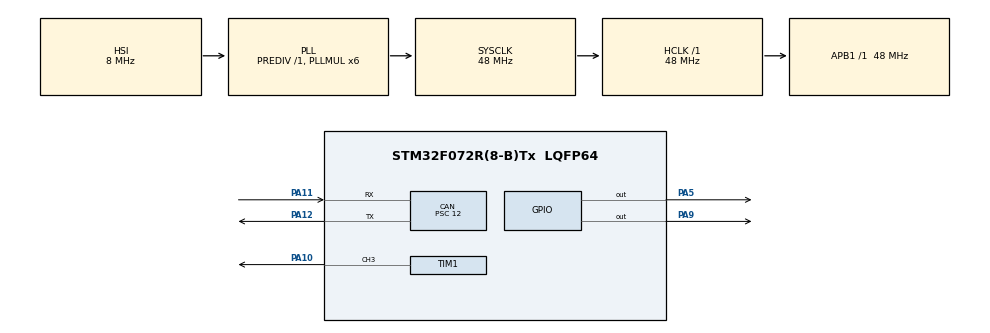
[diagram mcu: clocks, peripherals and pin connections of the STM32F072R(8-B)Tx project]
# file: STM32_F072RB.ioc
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CAN.BS1=CAN_BS1_8TQ
CAN.BS2=CAN_BS2_2TQ
CAN.CalculateBaudRate=363636
CAN.CalculateTimeBit=2750
CAN.CalculateTimeQuantum=250.0
CAN.Prescaler=12
Mcu.Family=STM32F0
Mcu.Name=STM32F072R(8-B)Tx
Mcu.Package=LQFP64
NVIC.CEC_CAN_IRQn=true\:0\:0\:false\:false\:true\:true\:true
NVIC.TIM1_CC_IRQn=true\:0\:0\:false\:false\:true\:true\:true
PA10.Signal=S_TIM1_CH3
PA11.Mode=CAN_Activate
PA11.Signal=CAN_RX
PA12.Mode=CAN_Activate
PA12.Signal=CAN_TX
PA5.GPIO_PuPd=GPIO_PULLUP
PA5.Signal=GPIO_Output
PA9.GPIO_PuPd=GPIO_PULLUP
PA9.Signal=GPIO_Output
PF0-OSC_IN.Mode=HSE-External-Oscillator
PF0-OSC_IN.Signal=RCC_OSC_IN
PF1-OSC_OUT.Mode=HSE-External-Oscillator
PF1-OSC_OUT.Signal=RCC_OSC_OUT
ProjectManager.HeapSize=0x200
ProjectManager.StackSize=0x400
ProjectManager.TargetToolchain=STM32CubeIDE
RCC.AHBFreq_Value=48000000
RCC.APB1Freq_Value=48000000
RCC.APB1TimFreq_Value=48000000
RCC.HCLKFreq_Value=48000000
RCC.HSE_VALUE=32000000
RCC.PLLMUL=RCC_PLL_MUL6
RCC.SYSCLKFreq_VALUE=48000000
RCC.SYSCLKSource=RCC_SYSCLKSOURCE_PLLCLK
SH.S_TIM1_CH3.0=TIM1_CH3,PWM Generation3 CH3
TIM1.AutoReloadPreload=TIM_AUTORELOAD_PRELOAD_ENABLE
TIM1.Channel-PWM\ Generation3\ CH3=TIM_CHANNEL_3
TIM1.OCMode_PWM-PWM\ Generation3\ CH3=TIM_OCMODE_PWM1
TIM1.Period=10000-1
TIM1.Prescaler=4800-1
TIM1.Pulse-PWM\ Generation3\ CH3=10
VP_TIM1_VS_ClockSourceINT.Mode=Internal
board=custom

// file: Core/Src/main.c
/* USER CODE BEGIN Header */
/**
  ******************************************************************************
  * @file           : main.c
  * @brief          : Main program body
  ******************************************************************************
  * @attention
  *
  * <h2><center>&copy; Copyright (c) 2021 STMicroelectronics.
  * All rights reserved.</center></h2>
  *
  * This software component is licensed by ST under BSD 3-Clause license,
  * the "License"; You may not use this file except in compliance with the
  * License. You may obtain a copy of the License at:
  *                        opensource.org/licenses/BSD-3-Clause
  *
  ******************************************************************************
  */
/* USER CODE END Header */
#include "main.h"

/* USER CODE BEGIN Includes */
#include <stdio.h>
#include <math.h>
#include "stm32f0xx_it.h"
#include "motor.h"
#include "can.h"

/* USER CODE END Includes */

CAN_HandleTypeDef hcan;

TIM_HandleTypeDef htim1;

/* USER CODE BEGIN PV */
int target = -1;
int cnt = 0;
int repetitions=1;

//CAN
CAN_TxHeaderTypeDef TxHeader;
CAN_RxHeaderTypeDef RxHeader;
uint8_t TxData[8];
uint8_t RxData[8];
uint32_t TxMailbox;

/* USER CODE END PV */

void SystemClock_Config(void);
static void MX_GPIO_Init(void);
static void MX_CAN_Init(void);
static void MX_TIM1_Init(void);
/* USER CODE BEGIN PFP */
void HAL_CAN_RxFifo0MsgPendingCallback(CAN_HandleTypeDef *hcan);
void HAL_TIM_OC_DelayElapsedCallback(TIM_HandleTypeDef *htim);

/* USER CODE END PFP */

/* USER CODE BEGIN 0 */

//fct interrupt (qd stm reçoit msg)
void HAL_CAN_RxFifo0MsgPendingCallback(CAN_HandleTypeDef *hcan) {
	//HAL_CAN_GetRxMessage(hcan, CAN_RX_FIFO0, &RxHeader, RxData);
	// Traitement des données
	uint8_t RxData[8];
	//réception du message
	HAL_CAN_GetRxMessage(hcan, CAN_RX_FIFO0, &RxHeader, RxData);

	send_one(0x324, 00);
	repetitions=1;
	//send_one(0x324, FF);
	motor_stop(RxData[0]);
	motor_dir(RxData[1]);
	motor_step(RxData[2]);
	target = RxData[3];

	//send_one(0x324, TIM1->ARR);
	//send_one(0x324, target);
	__HAL_TIM_SET_COUNTER(&htim1, 0);

}

/* USER CODE END 0 */

int main(void)
{

  /* MCU Configuration--------------------------------------------------------*/

  /* Reset of all peripherals, Initializes the Flash interface and the Systick. */
  HAL_Init();

  /* Configure the system clock */
  SystemClock_Config();

  /* Initialize all configured peripherals */
  MX_GPIO_Init();
  MX_CAN_Init();
  MX_TIM1_Init();
  /* USER CODE BEGIN 2 */
	CAN_Config(hcan, 0x325);

  //initialisation timer
  motor_stop(1);
  motor_step(0xFF);
  target=2;
  HAL_Delay(2000);
  motor_stop(0);
  target=0;

  /* USER CODE END 2 */

  /* Infinite loop */
    while (1)
      {

    }
}

void SystemClock_Config(void)
{
  RCC_OscInitTypeDef RCC_OscInitStruct = {0};
  RCC_ClkInitTypeDef RCC_ClkInitStruct = {0};

  /** Initializes the RCC Oscillators according to the specified parameters
  * in the RCC_OscInitTypeDef structure.
  */
  RCC_OscInitStruct.OscillatorType = RCC_OSCILLATORTYPE_HSI;
  RCC_OscInitStruct.HSIState = RCC_HSI_ON;
  RCC_OscInitStruct.HSICalibrationValue = RCC_HSICALIBRATION_DEFAULT;
  RCC_OscInitStruct.PLL.PLLState = RCC_PLL_ON;
  RCC_OscInitStruct.PLL.PLLSource = RCC_PLLSOURCE_HSI;
  RCC_OscInitStruct.PLL.PLLMUL = RCC_PLL_MUL6;
  RCC_OscInitStruct.PLL.PREDIV = RCC_PREDIV_DIV1;
  if (HAL_RCC_OscConfig(&RCC_OscInitStruct) != HAL_OK)
  {
    Error_Handler();
  }
  /** Initializes the CPU, AHB and APB buses clocks
  */
  RCC_ClkInitStruct.ClockType = RCC_CLOCKTYPE_HCLK|RCC_CLOCKTYPE_SYSCLK
                              |RCC_CLOCKTYPE_PCLK1;
  RCC_ClkInitStruct.SYSCLKSource = RCC_SYSCLKSOURCE_PLLCLK;
  RCC_ClkInitStruct.AHBCLKDivider = RCC_SYSCLK_DIV1;
  RCC_ClkInitStruct.APB1CLKDivider = RCC_HCLK_DIV1;

  if (HAL_RCC_ClockConfig(&RCC_ClkInitStruct, FLASH_LATENCY_1) != HAL_OK)
  {
    Error_Handler();
  }
}

static void MX_CAN_Init(void)
{

  hcan.Instance = CAN;
  hcan.Init.Prescaler = 12;
  hcan.Init.Mode = CAN_MODE_NORMAL;
  hcan.Init.SyncJumpWidth = CAN_SJW_1TQ;
  hcan.Init.TimeSeg1 = CAN_BS1_8TQ;
  hcan.Init.TimeSeg2 = CAN_BS2_2TQ;
  hcan.Init.TimeTriggeredMode = DISABLE;
  hcan.Init.AutoBusOff = DISABLE;
  hcan.Init.AutoWakeUp = DISABLE;
  hcan.Init.AutoRetransmission = DISABLE;
  hcan.Init.ReceiveFifoLocked = DISABLE;
  hcan.Init.TransmitFifoPriority = DISABLE;
  if (HAL_CAN_Init(&hcan) != HAL_OK)
  {
    Error_Handler();
  }

}

static void MX_TIM1_Init(void)
{

  TIM_ClockConfigTypeDef sClockSourceConfig = {0};
  TIM_MasterConfigTypeDef sMasterConfig = {0};
  TIM_OC_InitTypeDef sConfigOC = {0};
  TIM_BreakDeadTimeConfigTypeDef sBreakDeadTimeConfig = {0};

  htim1.Instance = TIM1;
  htim1.Init.Prescaler = 4800-1;
  htim1.Init.CounterMode = TIM_COUNTERMODE_UP;
  htim1.Init.Period = 10000-1;
  htim1.Init.ClockDivision = TIM_CLOCKDIVISION_DIV1;
  htim1.Init.RepetitionCounter = 0;
  htim1.Init.AutoReloadPreload = TIM_AUTORELOAD_PRELOAD_ENABLE;
  if (HAL_TIM_Base_Init(&htim1) != HAL_OK)
  {
    Error_Handler();
  }
  sClockSourceConfig.ClockSource = TIM_CLOCKSOURCE_INTERNAL;
  if (HAL_TIM_ConfigClockSource(&htim1, &sClockSourceConfig) != HAL_OK)
  {
    Error_Handler();
  }
  if (HAL_TIM_PWM_Init(&htim1) != HAL_OK)
  {
    Error_Handler();
  }
  sMasterConfig.MasterOutputTrigger = TIM_TRGO_RESET;
  sMasterConfig.MasterSlaveMode = TIM_MASTERSLAVEMODE_DISABLE;
  if (HAL_TIMEx_MasterConfigSynchronization(&htim1, &sMasterConfig) != HAL_OK)
  {
    Error_Handler();
  }
  sConfigOC.OCMode = TIM_OCMODE_PWM1;
  sConfigOC.Pulse = 10;
  sConfigOC.OCPolarity = TIM_OCPOLARITY_HIGH;
  sConfigOC.OCNPolarity = TIM_OCNPOLARITY_HIGH;
  sConfigOC.OCFastMode = TIM_OCFAST_DISABLE;
  sConfigOC.OCIdleState = TIM_OCIDLESTATE_RESET;
  sConfigOC.OCNIdleState = TIM_OCNIDLESTATE_RESET;
  if (HAL_TIM_PWM_ConfigChannel(&htim1, &sConfigOC, TIM_CHANNEL_3) != HAL_OK)
  {
    Error_Handler();
  }
  sBreakDeadTimeConfig.OffStateRunMode = TIM_OSSR_DISABLE;
  sBreakDeadTimeConfig.OffStateIDLEMode = TIM_OSSI_DISABLE;
  sBreakDeadTimeConfig.LockLevel = TIM_LOCKLEVEL_OFF;
  sBreakDeadTimeConfig.DeadTime = 0;
  sBreakDeadTimeConfig.BreakState = TIM_BREAK_DISABLE;
  sBreakDeadTimeConfig.BreakPolarity = TIM_BREAKPOLARITY_HIGH;
  sBreakDeadTimeConfig.AutomaticOutput = TIM_AUTOMATICOUTPUT_DISABLE;
  if (HAL_TIMEx_ConfigBreakDeadTime(&htim1, &sBreakDeadTimeConfig) != HAL_OK)
  {
    Error_Handler();
  }
  HAL_TIM_MspPostInit(&htim1);

}

static void MX_GPIO_Init(void)
{
  GPIO_InitTypeDef GPIO_InitStruct = {0};

  /* GPIO Ports Clock Enable */
  __HAL_RCC_GPIOF_CLK_ENABLE();
  __HAL_RCC_GPIOA_CLK_ENABLE();

  /*Configure GPIO pin Output Level */
  HAL_GPIO_WritePin(GPIOA, GPIO_PIN_5|GPIO_PIN_9, GPIO_PIN_RESET);

  /*Configure GPIO pins : PA5 PA9 */
  GPIO_InitStruct.Pin = GPIO_PIN_5|GPIO_PIN_9;
  GPIO_InitStruct.Mode = GPIO_MODE_OUTPUT_PP;
  GPIO_InitStruct.Pull = GPIO_PULLUP;
  GPIO_InitStruct.Speed = GPIO_SPEED_FREQ_LOW;
  HAL_GPIO_Init(GPIOA, &GPIO_InitStruct);

}

void Error_Handler(void)
{
  __disable_irq();
  while (1)
  {
  }
}
